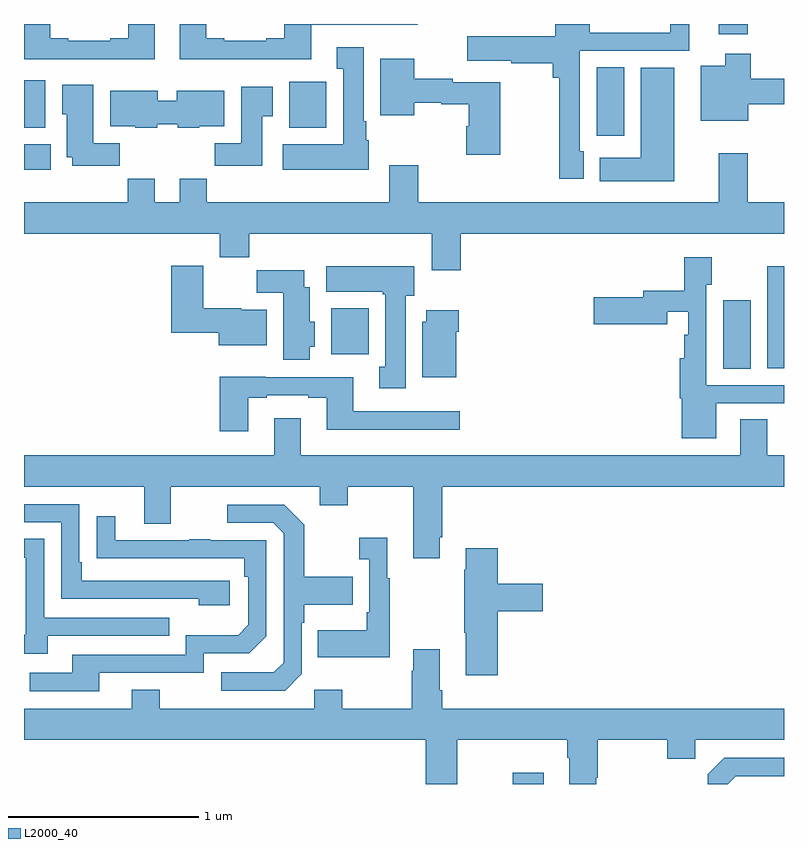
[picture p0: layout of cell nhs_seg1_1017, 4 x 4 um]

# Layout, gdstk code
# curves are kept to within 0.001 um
import gdstk
lib = gdstk.Library(unit=1e-6, precision=1e-09)
def R(c, l, rs):  # rectangles x0, y0, x1, y1
    for r in rs: c.add(gdstk.rectangle(r[:2], r[2:], *l))
def P(c, l, *ps):  # polygons
    for p in ps: c.add(gdstk.Polygon(p, *l))
L2000_40 = (2000, 40)

nhs_seg1_1017 = lib.new_cell('nhs_seg1_1017')
R(nhs_seg1_1017, L2000_40, [(169.573,518.199,169.735,518.257), (170.681,520.384,170.824,520.746), (170.912,520.388,171,520.924), (168.617,520.46,168.814,520.702), (167,521.432,167.14,521.566), (170.015,521.61,170.158,521.972), (167,521.654,167.113,521.904), (168.395,521.654,168.592,521.896), (170.657,522.144,170.81,522.199)])
P(nhs_seg1_1017, L2000_40, [(168.511,522.195),(169.072,522.195),(169.072,522.199),(168.371,522.199),(168.371,522.124),(168.275,522.124),(168.275,522.111),(168.055,522.111),(168.055,522.124),(167.959,522.124),(167.959,522.199),(167.819,522.199),(167.819,522.014),(168.511,522.014)],
  [(169.945,521.529),(169.926,521.529),(169.926,522.057),(170.5,522.057),(170.5,522.199),(170.402,522.199),(170.402,522.153),(169.978,522.153),(169.978,522.199),(169.796,522.199),(169.796,522.135),(169.332,522.135),(169.332,522.005),(169.564,522.005),(169.564,521.993),(169.784,521.993),(169.784,521.915),(169.818,521.915),(169.818,521.385),(169.945,521.385)],
  [(167.689,522.199),(167.549,522.199),(167.549,522.124),(167.453,522.124),(167.453,522.111),(167.233,522.111),(167.233,522.124),(167.137,522.124),(167.137,522.199),(167,522.199),(167,522.014),(167.689,522.014)],
  [(168.814,521.586),(168.802,521.586),(168.802,521.686),(168.787,521.686),(168.787,522.076),(168.647,522.076),(168.647,521.963),(168.68,521.963),(168.68,521.566),(168.363,521.566),(168.363,521.432),(168.814,521.432)],
  [(170.812,521.776),(171,521.776),(171,521.912),(170.825,521.912),(170.825,522.043),(170.69,522.043),(170.69,521.98),(170.561,521.98),(170.561,521.69),(170.812,521.69)],
  [(169.506,521.892),(169.257,521.892),(169.257,521.912),(169.054,521.912),(169.054,522.016),(168.875,522.016),(168.875,521.72),(169.054,521.72),(169.054,521.784),(169.197,521.784),(169.197,521.776),(169.34,521.776),(169.34,521.661),(169.328,521.661),(169.328,521.511),(169.506,521.511)],
  [(170.422,521.968),(170.246,521.968),(170.246,521.494),(170.03,521.494),(170.03,521.372),(170.422,521.372)],
  [(167.504,521.572),(167.365,521.572),(167.365,521.878),(167.201,521.878),(167.201,521.724),(167.225,521.724),(167.225,521.498),(167.255,521.498),(167.255,521.454),(167.504,521.454)],
  [(168.253,521.713),(168.31,521.713),(168.31,521.869),(168.143,521.869),(168.143,521.572),(168.004,521.572),(168.004,521.454),(168.253,521.454)],
  [(167.7,521.672),(167.808,521.672),(167.808,521.654),(167.922,521.654),(167.922,521.66),(168.055,521.66),(168.055,521.848),(167.804,521.848),(167.804,521.794),(167.704,521.794),(167.704,521.848),(167.453,521.848),(167.453,521.66),(167.586,521.66),(167.586,521.654),(167.7,521.654)],
  [(169.298,521.096),(171,521.096),(171,521.26),(170.81,521.26),(170.81,521.518),(170.657,521.518),(170.657,521.26),(169.076,521.26),(169.076,521.455),(168.923,521.455),(168.923,521.26),(167.963,521.26),(167.963,521.384),(167.819,521.384),(167.819,521.26),(167.689,521.26),(167.689,521.384),(167.545,521.384),(167.545,521.26),(167,521.26),(167,521.096),(168.029,521.096),(168.029,520.972),(168.185,520.972),(168.185,521.096),(169.145,521.096),(169.145,520.902),(169.298,520.902)],
  [(170.644,520.203),(171,520.203),(171,520.299),(170.592,520.299),(170.592,520.827),(170.619,520.827),(170.619,520.972),(170.476,520.972),(170.476,520.795),(170.258,520.795),(170.258,520.761),(169.998,520.761),(169.998,520.619),(170.386,520.619),(170.386,520.684),(170.496,520.684),(170.496,520.563),(170.476,520.563),(170.476,520.441),(170.45,520.441),(170.45,520.23),(170.462,520.23),(170.462,520.019),(170.644,520.019)],
  [(168.277,520.696),(168.144,520.696),(168.144,520.702),(167.944,520.702),(167.944,520.927),(167.774,520.927),(167.774,520.574),(168.026,520.574),(168.026,520.508),(168.277,520.508)],
  [(169.009,520.77),(169.054,520.77),(169.054,520.924),(168.59,520.924),(168.59,520.79),(168.889,520.79),(168.889,520.777),(168.902,520.777),(168.902,520.394),(168.869,520.394),(168.869,520.281),(169.009,520.281)],
  [(168.505,520.5),(168.529,520.5),(168.529,520.632),(168.505,520.632),(168.505,520.813),(168.475,520.813),(168.475,520.903),(168.226,520.903),(168.226,520.784),(168.365,520.784),(168.365,520.433),(168.505,520.433)],
  [(169.276,520.58),(169.289,520.58),(169.289,520.693),(169.118,520.693),(169.118,520.632),(169.097,520.632),(169.097,520.34),(169.276,520.34)],
  [(168.181,520.233),(168.277,520.233),(168.277,520.245),(168.497,520.245),(168.497,520.233),(168.593,520.233),(168.593,520.064),(169.294,520.064),(169.294,520.161),(168.733,520.161),(168.733,520.341),(168.273,520.341),(168.273,520.342),(168.029,520.342),(168.029,520.056),(168.181,520.056)],
  [(169.189,519.499),(169.202,519.499),(169.202,519.764),(171,519.764),(171,519.928),(170.911,519.928),(170.911,520.118),(170.771,520.118),(170.771,519.928),(168.457,519.928),(168.457,520.123),(168.317,520.123),(168.317,519.928),(167,519.928),(167,519.764),(167.633,519.764),(167.633,519.57),(167.773,519.57),(167.773,519.764),(168.557,519.764),(168.557,519.665),(168.705,519.665),(168.705,519.764),(169.049,519.764),(169.049,519.387),(169.189,519.387)],
  [(168.082,519.27),(167.305,519.27),(167.305,519.367),(167.292,519.367),(167.292,519.672),(167,519.672),(167,519.576),(167.196,519.576),(167.196,519.174),(167.921,519.174),(167.921,519.14),(168.082,519.14)],
  [(168.462,518.778),(168.462,519.047),(168.475,519.047),(168.475,519.143),(168.731,519.143),(168.731,519.291),(168.475,519.291),(168.475,519.563),(168.369,519.669),(168.069,519.669),(168.069,519.573),(168.312,519.573),(168.366,519.519),(168.366,518.838),(168.315,518.787),(168.039,518.787),(168.039,518.691),(168.375,518.691)],
  [(167.395,518.784),(167.946,518.784),(167.946,518.886),(168.186,518.886),(168.276,518.976),(168.276,519.483),(167.981,519.483),(167.981,519.488),(167.869,519.488),(167.869,519.483),(167.479,519.483),(167.479,519.607),(167.383,519.607),(167.383,519.388),(168.16,519.387),(168.16,519.29),(168.18,519.29),(168.18,519.036),(168.127,518.983),(167.85,518.983),(167.85,518.88),(167.255,518.88),(167.255,518.784),(167.031,518.784),(167.031,518.688),(167.395,518.688)],
  [(168.925,519.283),(168.913,519.283),(168.913,519.496),(168.765,519.496),(168.765,519.383),(168.816,519.383),(168.816,519.103),(168.804,519.103),(168.804,519.007),(168.547,519.007),(168.547,518.867),(168.925,518.867)],
  [(167.125,518.979),(167.765,518.979),(167.765,519.075),(167.106,519.075),(167.106,519.491),(167,519.491),(167,519.39),(167.01,519.39),(167.01,518.985),(167,518.985),(167,518.885),(167.125,518.885)],
  [(169.493,519.107),(169.729,519.107),(169.729,519.254),(169.493,519.254),(169.493,519.439),(169.325,519.439),(169.325,519.326),(169.318,519.326),(169.318,518.995),(169.325,518.995),(169.325,518.772),(169.493,518.772)],
  [(169.279,518.432),(169.859,518.432),(169.859,518.336),(169.871,518.336),(169.871,518.199),(170.011,518.199),(170.011,518.233),(170.019,518.233),(170.019,518.432),(170.386,518.432),(170.386,518.333),(170.532,518.333),(170.532,518.432),(171,518.432),(171,518.596),(169.202,518.596),(169.202,518.692),(169.189,518.692),(169.189,518.908),(169.049,518.908),(169.049,518.795),(169.042,518.795),(169.042,518.596),(168.675,518.596),(168.675,518.695),(168.528,518.695),(168.528,518.596),(167.715,518.596),(167.715,518.695),(167.567,518.695),(167.567,518.596),(167,518.596),(167,518.432),(169.115,518.432),(169.115,518.199),(169.279,518.199)],
  [(170.745,518.241),(171,518.241),(171,518.337),(170.685,518.337),(170.598,518.25),(170.598,518.199),(170.703,518.199)])

lib.write_gds('nhs_seg1_1017.gds')
